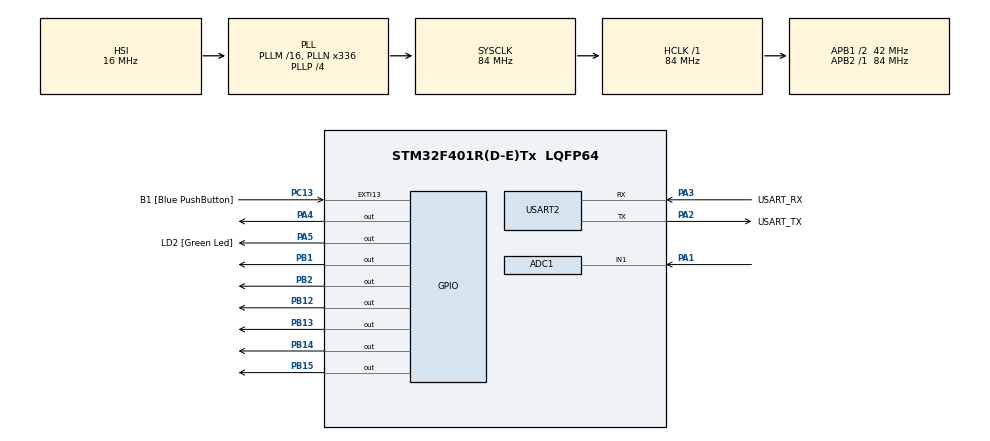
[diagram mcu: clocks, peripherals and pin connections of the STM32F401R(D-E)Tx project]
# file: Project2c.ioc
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ADC1.Channel-0\#ChannelRegularConversion=ADC_CHANNEL_1
ADC1.ExternalTrigConv=ADC_EXTERNALTRIGCONV_T2_TRGO
ADC1.NbrOfConversionFlag=1
ADC1.Rank-0\#ChannelRegularConversion=1
ADC1.SamplingTime-0\#ChannelRegularConversion=ADC_SAMPLETIME_480CYCLES
ADC1.master=1
Mcu.Family=STM32F4
Mcu.Name=STM32F401R(D-E)Tx
Mcu.Package=LQFP64
NVIC.ADC_IRQn=true\:0\:0\:false\:false\:true\:true\:true\:true
NVIC.PriorityGroup=NVIC_PRIORITYGROUP_0
NVIC.TIM2_IRQn=true\:0\:0\:false\:false\:true\:true\:true\:true
PA1.Signal=ADCx_IN1
PA13.GPIO_Label=TMS
PA13.Mode=Serial_Wire
PA13.Signal=SYS_JTMS-SWDIO
PA14.GPIO_Label=TCK
PA14.Mode=Serial_Wire
PA14.Signal=SYS_JTCK-SWCLK
PA2.GPIO_Label=USART_TX
PA2.GPIO_Mode=GPIO_MODE_AF_PP
PA2.GPIO_PuPd=GPIO_NOPULL
PA2.GPIO_Speed=GPIO_SPEED_FREQ_LOW
PA2.Mode=Asynchronous
PA2.Signal=USART2_TX
PA3.GPIO_Label=USART_RX
PA3.GPIO_Mode=GPIO_MODE_AF_PP
PA3.GPIO_PuPd=GPIO_NOPULL
PA3.GPIO_Speed=GPIO_SPEED_FREQ_LOW
PA3.Mode=Asynchronous
PA3.Signal=USART2_RX
PA4.Signal=GPIO_Output
PA5.GPIO_Label=LD2 [Green Led]
PA5.GPIO_Mode=GPIO_MODE_OUTPUT_PP
PA5.GPIO_PuPd=GPIO_NOPULL
PA5.GPIO_Speed=GPIO_SPEED_FREQ_LOW
PA5.Signal=GPIO_Output
PB1.Signal=GPIO_Output
PB12.Signal=GPIO_Output
PB13.Signal=GPIO_Output
PB14.Signal=GPIO_Output
PB15.Signal=GPIO_Output
PB2.Signal=GPIO_Output
PB3.GPIO_Label=SWO
PB3.Signal=SYS_JTDO-SWO
PC13-ANTI_TAMP.GPIO_Label=B1 [Blue PushButton]
PC13-ANTI_TAMP.GPIO_ModeDefaultEXTI=GPIO_MODE_IT_FALLING
PC13-ANTI_TAMP.GPIO_PuPd=GPIO_NOPULL
PC13-ANTI_TAMP.Signal=GPXTI13
PC14-OSC32_IN.Mode=LSE-External-Oscillator
PC14-OSC32_IN.Signal=RCC_OSC32_IN
PC15-OSC32_OUT.Mode=LSE-External-Oscillator
PC15-OSC32_OUT.Signal=RCC_OSC32_OUT
PH0\ -\ OSC_IN.Mode=HSE-External-Clock-Source
PH0\ -\ OSC_IN.Signal=RCC_OSC_IN
PH1\ -\ OSC_OUT.Mode=HSE-External-Clock-Source
PH1\ -\ OSC_OUT.Signal=RCC_OSC_OUT
ProjectManager.HeapSize=0x200
ProjectManager.StackSize=0x400
ProjectManager.TargetToolchain=STM32CubeIDE
RCC.48MHZClocksFreq_Value=48000000
RCC.AHBFreq_Value=84000000
RCC.APB1CLKDivider=RCC_HCLK_DIV2
RCC.APB1Freq_Value=42000000
RCC.APB1TimFreq_Value=84000000
RCC.APB2Freq_Value=84000000
RCC.APB2TimFreq_Value=84000000
RCC.CortexFreq_Value=84000000
RCC.HCLKFreq_Value=84000000
RCC.HSE_VALUE=8000000
RCC.HSI_VALUE=16000000
RCC.PLLN=336
RCC.PLLP=RCC_PLLP_DIV4
RCC.PLLQ=7
RCC.SYSCLKFreq_VALUE=84000000
RCC.SYSCLKSource=RCC_SYSCLKSOURCE_PLLCLK
RCC.VCOOutputFreq_Value=336000000
SH.ADCx_IN1.0=ADC1_IN1,IN1
TIM2.Period=1999
TIM2.Prescaler=8399
TIM2.TIM_MasterOutputTrigger=TIM_TRGO_UPDATE
USART2.VirtualMode=VM_ASYNC
VP_TIM2_VS_ClockSourceINT.Mode=Internal
board=NUCLEO-F401RE

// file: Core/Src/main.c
/* USER CODE BEGIN Header */
/**
  ******************************************************************************
  * @file           : main.c
  * @brief          : Main program body
  ******************************************************************************
  * @attention
  *
  * Copyright (c) 2023 STMicroelectronics.
  * All rights reserved.
  *
  * This software is licensed under terms that can be found in the LICENSE file
  * in the root directory of this software component.
  * If no LICENSE file comes with this software, it is provided AS-IS.
  *
  ******************************************************************************
  */
/* USER CODE END Header */
#include "main.h"

/* USER CODE BEGIN Includes */
#include "stdio.h"
#include "PMDB16_LCD.h"
/* USER CODE END Includes */

ADC_HandleTypeDef hadc1;

TIM_HandleTypeDef htim2;

UART_HandleTypeDef huart2;

void SystemClock_Config(void);
static void MX_GPIO_Init(void);
static void MX_USART2_UART_Init(void);
static void MX_ADC1_Init(void);
static void MX_TIM2_Init(void);

/* USER CODE BEGIN 0 */
void HAL_ADC_ConvCpltCallback (ADC_HandleTypeDef *hadc){
	int conversion = HAL_ADC_GetValue(&hadc1);
	float voltage = conversion*3.3/4095.0;
    char string[18];
    snprintf(string,sizeof(string),"Voltage: %.3f V",voltage);
	lcd_clear();
	lcd_println(string, 0);
	lcd_drawBar((80*conversion)/4095);
}
/* USER CODE END 0 */

int main(void)
{

  /* MCU Configuration--------------------------------------------------------*/

  /* Reset of all peripherals, Initializes the Flash interface and the Systick. */
  HAL_Init();

  /* Configure the system clock */
  SystemClock_Config();

  /* Initialize all configured peripherals */
  MX_GPIO_Init();
  MX_USART2_UART_Init();
  MX_ADC1_Init();
  MX_TIM2_Init();
  /* USER CODE BEGIN 2 */
  // Initialize LCD
   lcd_initialize();
   lcd_backlight_ON();
   lcd_clear();

   if(HAL_ADC_Start_IT(&hadc1) != HAL_OK){
   	  Error_Handler();
     }

   if(HAL_TIM_Base_Start(&htim2) != HAL_OK){
   	  Error_Handler();
     }
  /* USER CODE END 2 */

  /* Infinite loop */
  while (1)
  {

  }
}

void SystemClock_Config(void)
{
  RCC_OscInitTypeDef RCC_OscInitStruct = {0};
  RCC_ClkInitTypeDef RCC_ClkInitStruct = {0};

  /** Configure the main internal regulator output voltage
  */
  __HAL_RCC_PWR_CLK_ENABLE();
  __HAL_PWR_VOLTAGESCALING_CONFIG(PWR_REGULATOR_VOLTAGE_SCALE2);

  /** Initializes the RCC Oscillators according to the specified parameters
  * in the RCC_OscInitTypeDef structure.
  */
  RCC_OscInitStruct.OscillatorType = RCC_OSCILLATORTYPE_HSI;
  RCC_OscInitStruct.HSIState = RCC_HSI_ON;
  RCC_OscInitStruct.HSICalibrationValue = RCC_HSICALIBRATION_DEFAULT;
  RCC_OscInitStruct.PLL.PLLState = RCC_PLL_ON;
  RCC_OscInitStruct.PLL.PLLSource = RCC_PLLSOURCE_HSI;
  RCC_OscInitStruct.PLL.PLLM = 16;
  RCC_OscInitStruct.PLL.PLLN = 336;
  RCC_OscInitStruct.PLL.PLLP = RCC_PLLP_DIV4;
  RCC_OscInitStruct.PLL.PLLQ = 7;
  if (HAL_RCC_OscConfig(&RCC_OscInitStruct) != HAL_OK)
  {
    Error_Handler();
  }

  /** Initializes the CPU, AHB and APB buses clocks
  */
  RCC_ClkInitStruct.ClockType = RCC_CLOCKTYPE_HCLK|RCC_CLOCKTYPE_SYSCLK
                              |RCC_CLOCKTYPE_PCLK1|RCC_CLOCKTYPE_PCLK2;
  RCC_ClkInitStruct.SYSCLKSource = RCC_SYSCLKSOURCE_PLLCLK;
  RCC_ClkInitStruct.AHBCLKDivider = RCC_SYSCLK_DIV1;
  RCC_ClkInitStruct.APB1CLKDivider = RCC_HCLK_DIV2;
  RCC_ClkInitStruct.APB2CLKDivider = RCC_HCLK_DIV1;

  if (HAL_RCC_ClockConfig(&RCC_ClkInitStruct, FLASH_LATENCY_2) != HAL_OK)
  {
    Error_Handler();
  }
}

static void MX_ADC1_Init(void)
{

  ADC_ChannelConfTypeDef sConfig = {0};

  /** Configure the global features of the ADC (Clock, Resolution, Data Alignment and number of conversion)
  */
  hadc1.Instance = ADC1;
  hadc1.Init.ClockPrescaler = ADC_CLOCK_SYNC_PCLK_DIV4;
  hadc1.Init.Resolution = ADC_RESOLUTION_12B;
  hadc1.Init.ScanConvMode = DISABLE;
  hadc1.Init.ContinuousConvMode = DISABLE;
  hadc1.Init.DiscontinuousConvMode = DISABLE;
  hadc1.Init.ExternalTrigConvEdge = ADC_EXTERNALTRIGCONVEDGE_RISING;
  hadc1.Init.ExternalTrigConv = ADC_EXTERNALTRIGCONV_T2_TRGO;
  hadc1.Init.DataAlign = ADC_DATAALIGN_RIGHT;
  hadc1.Init.NbrOfConversion = 1;
  hadc1.Init.DMAContinuousRequests = DISABLE;
  hadc1.Init.EOCSelection = ADC_EOC_SINGLE_CONV;
  if (HAL_ADC_Init(&hadc1) != HAL_OK)
  {
    Error_Handler();
  }

  /** Configure for the selected ADC regular channel its corresponding rank in the sequencer and its sample time.
  */
  sConfig.Channel = ADC_CHANNEL_1;
  sConfig.Rank = 1;
  sConfig.SamplingTime = ADC_SAMPLETIME_480CYCLES;
  if (HAL_ADC_ConfigChannel(&hadc1, &sConfig) != HAL_OK)
  {
    Error_Handler();
  }

}

static void MX_TIM2_Init(void)
{

  TIM_ClockConfigTypeDef sClockSourceConfig = {0};
  TIM_MasterConfigTypeDef sMasterConfig = {0};

  htim2.Instance = TIM2;
  htim2.Init.Prescaler = 8399;
  htim2.Init.CounterMode = TIM_COUNTERMODE_UP;
  htim2.Init.Period = 1999;
  htim2.Init.ClockDivision = TIM_CLOCKDIVISION_DIV1;
  htim2.Init.AutoReloadPreload = TIM_AUTORELOAD_PRELOAD_DISABLE;
  if (HAL_TIM_Base_Init(&htim2) != HAL_OK)
  {
    Error_Handler();
  }
  sClockSourceConfig.ClockSource = TIM_CLOCKSOURCE_INTERNAL;
  if (HAL_TIM_ConfigClockSource(&htim2, &sClockSourceConfig) != HAL_OK)
  {
    Error_Handler();
  }
  sMasterConfig.MasterOutputTrigger = TIM_TRGO_UPDATE;
  sMasterConfig.MasterSlaveMode = TIM_MASTERSLAVEMODE_DISABLE;
  if (HAL_TIMEx_MasterConfigSynchronization(&htim2, &sMasterConfig) != HAL_OK)
  {
    Error_Handler();
  }

}

static void MX_USART2_UART_Init(void)
{

  huart2.Instance = USART2;
  huart2.Init.BaudRate = 115200;
  huart2.Init.WordLength = UART_WORDLENGTH_8B;
  huart2.Init.StopBits = UART_STOPBITS_1;
  huart2.Init.Parity = UART_PARITY_NONE;
  huart2.Init.Mode = UART_MODE_TX_RX;
  huart2.Init.HwFlowCtl = UART_HWCONTROL_NONE;
  huart2.Init.OverSampling = UART_OVERSAMPLING_16;
  if (HAL_UART_Init(&huart2) != HAL_OK)
  {
    Error_Handler();
  }

}

static void MX_GPIO_Init(void)
{
  GPIO_InitTypeDef GPIO_InitStruct = {0};

  /* GPIO Ports Clock Enable */
  __HAL_RCC_GPIOC_CLK_ENABLE();
  __HAL_RCC_GPIOH_CLK_ENABLE();
  __HAL_RCC_GPIOA_CLK_ENABLE();
  __HAL_RCC_GPIOB_CLK_ENABLE();

  /*Configure GPIO pin Output Level */
  HAL_GPIO_WritePin(GPIOA, GPIO_PIN_4|LD2_Pin, GPIO_PIN_RESET);

  /*Configure GPIO pin Output Level */
  HAL_GPIO_WritePin(GPIOB, GPIO_PIN_1|GPIO_PIN_2|GPIO_PIN_12|GPIO_PIN_13
                          |GPIO_PIN_14|GPIO_PIN_15, GPIO_PIN_RESET);

  /*Configure GPIO pin : B1_Pin */
  GPIO_InitStruct.Pin = B1_Pin;
  GPIO_InitStruct.Mode = GPIO_MODE_IT_FALLING;
  GPIO_InitStruct.Pull = GPIO_NOPULL;
  HAL_GPIO_Init(B1_GPIO_Port, &GPIO_InitStruct);

  /*Configure GPIO pins : PA4 LD2_Pin */
  GPIO_InitStruct.Pin = GPIO_PIN_4|LD2_Pin;
  GPIO_InitStruct.Mode = GPIO_MODE_OUTPUT_PP;
  GPIO_InitStruct.Pull = GPIO_NOPULL;
  GPIO_InitStruct.Speed = GPIO_SPEED_FREQ_LOW;
  HAL_GPIO_Init(GPIOA, &GPIO_InitStruct);

  /*Configure GPIO pins : PB1 PB2 PB12 PB13
                           PB14 PB15 */
  GPIO_InitStruct.Pin = GPIO_PIN_1|GPIO_PIN_2|GPIO_PIN_12|GPIO_PIN_13
                          |GPIO_PIN_14|GPIO_PIN_15;
  GPIO_InitStruct.Mode = GPIO_MODE_OUTPUT_PP;
  GPIO_InitStruct.Pull = GPIO_NOPULL;
  GPIO_InitStruct.Speed = GPIO_SPEED_FREQ_LOW;
  HAL_GPIO_Init(GPIOB, &GPIO_InitStruct);

}

void Error_Handler(void)
{
  __disable_irq();
  while (1)
  {
  }
}
